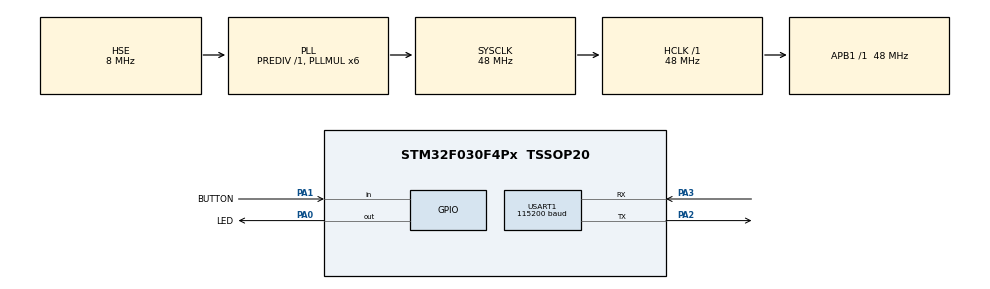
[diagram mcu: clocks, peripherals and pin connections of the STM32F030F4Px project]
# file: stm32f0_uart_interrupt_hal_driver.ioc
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Mcu.Family=STM32F0
Mcu.Name=STM32F030F4Px
Mcu.Package=TSSOP20
NVIC.USART1_IRQn=true\:0\:0\:false\:false\:true\:true\:true\:true
PA0.GPIO_Label=LED
PA0.Signal=GPIO_Output
PA1.GPIO_Label=BUTTON
PA1.GPIO_PuPd=GPIO_PULLUP
PA1.Signal=GPIO_Input
PA13.Mode=Serial_Wire
PA13.Signal=SYS_SWDIO
PA14.Mode=Serial_Wire
PA14.Signal=SYS_SWCLK
PA2.Mode=Asynchronous
PA2.Signal=USART1_TX
PA3.Mode=Asynchronous
PA3.Signal=USART1_RX
PF0-OSC_IN.Mode=HSE-External-Oscillator
PF0-OSC_IN.Signal=RCC_OSC_IN
PF1-OSC_OUT.Mode=HSE-External-Oscillator
PF1-OSC_OUT.Signal=RCC_OSC_OUT
ProjectManager.HeapSize=0x200
ProjectManager.StackSize=0x400
ProjectManager.TargetToolchain=STM32CubeIDE
RCC.AHBFreq_Value=48000000
RCC.APB1Freq_Value=48000000
RCC.APB1TimFreq_Value=48000000
RCC.EnbaleCSS=true
RCC.HCLKFreq_Value=48000000
RCC.PLLMUL=RCC_PLL_MUL6
RCC.PLLSourceVirtual=RCC_PLLSOURCE_HSE
RCC.SYSCLKFreq_VALUE=48000000
RCC.SYSCLKSource=RCC_SYSCLKSOURCE_PLLCLK
USART1.BaudRate=115200
USART1.VirtualMode-Asynchronous=VM_ASYNC
board=custom

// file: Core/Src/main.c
/* USER CODE BEGIN Header */
/**
  ******************************************************************************
  * @file           : main.c
  * @brief          : Main program body
  ******************************************************************************
  * @attention
  *
  * Copyright (c) 2025 STMicroelectronics.
  * All rights reserved.
  *
  * This software is licensed under terms that can be found in the LICENSE file
  * in the root directory of this software component.
  * If no LICENSE file comes with this software, it is provided AS-IS.
  *
  ******************************************************************************
  */
/* USER CODE END Header */
#include "main.h"

/* USER CODE BEGIN Includes */
#include "stdio.h"
/* USER CODE END Includes */

UART_HandleTypeDef huart1;

void SystemClock_Config(void);
static void MX_GPIO_Init(void);
static void MX_USART1_UART_Init(void);

/* USER CODE BEGIN 0 */

uint8_t rxData = 0;	/* receive buffer */
uint8_t txData[30] = {0};	/* transmit buffer */

uint8_t pressed_counter = 0;	/* button pressed counter */

uint8_t program_starting_flag = 0;	/* a flag for initializations */

uint8_t new_message_flag = 0;		/* rx interrupt flag */

/* USER CODE END 0 */

int main(void)
{

  /* MCU Configuration--------------------------------------------------------*/

  /* Reset of all peripherals, Initializes the Flash interface and the Systick. */
  HAL_Init();

  /* Configure the system clock */
  SystemClock_Config();

  /* Initialize all configured peripherals */
  MX_GPIO_Init();
  MX_USART1_UART_Init();
  /* USER CODE BEGIN 2 */

  /* receive 1 byte and store in rxData in interrupt method */
  HAL_UART_Receive_IT(&huart1, &rxData, 1);

  /* make txData */
  sprintf(txData, "Hello World From STM32F0!\n");

  /* transmit data with interrupt */
  HAL_UART_Transmit_IT(&huart1, txData, 26);		/* Tx routine will be called after transmit completed */

  /* USER CODE END 2 */

  /* Infinite loop */
  /* USER CODE BEGIN WHILE */
  while (1)
  {
	  if(new_message_flag)
	  {
		  if(rxData == '0')
		  {
			  /* turn off LED */
			  HAL_GPIO_WritePin(LED_GPIO_Port, LED_Pin, GPIO_PIN_RESET);

			  /* make tx buffer */
			  sprintf(txData, "LED Turned OFF.\n");

			  /* send with polling method */
			  HAL_UART_Transmit(&huart1, txData, 16, 100);
		  }
		  else if(rxData == '1')
		  {
			  /* turn on LED */
			  HAL_GPIO_WritePin(LED_GPIO_Port, LED_Pin, GPIO_PIN_SET);

			  /* make tx buffer */
			  sprintf(txData, "LED Turned ON.\n");

			  /* send with polling method */
			  HAL_UART_Transmit(&huart1, txData, 15, 100);
		  }

		  /* reset the flag */
		  new_message_flag = 0;
	  }

	  /* check button pressed */
	  if(HAL_GPIO_ReadPin(BUTTON_GPIO_Port, BUTTON_Pin) == GPIO_PIN_RESET)
	  {
		  /* button pressed */
		  pressed_counter++;

		  /* make tx buffer */
		  sprintf(txData, "pressed : %3d\n", pressed_counter);

		  /* send with polling method */
		  HAL_UART_Transmit(&huart1, txData, 14, 100);

		  /* button bounce */
		  HAL_Delay(200);
	  }

    /* USER CODE END WHILE */

  }
}

void SystemClock_Config(void)
{
  RCC_OscInitTypeDef RCC_OscInitStruct = {0};
  RCC_ClkInitTypeDef RCC_ClkInitStruct = {0};
  RCC_PeriphCLKInitTypeDef PeriphClkInit = {0};

  /** Initializes the RCC Oscillators according to the specified parameters
  * in the RCC_OscInitTypeDef structure.
  */
  RCC_OscInitStruct.OscillatorType = RCC_OSCILLATORTYPE_HSE;
  RCC_OscInitStruct.HSEState = RCC_HSE_ON;
  RCC_OscInitStruct.PLL.PLLState = RCC_PLL_ON;
  RCC_OscInitStruct.PLL.PLLSource = RCC_PLLSOURCE_HSE;
  RCC_OscInitStruct.PLL.PLLMUL = RCC_PLL_MUL6;
  RCC_OscInitStruct.PLL.PREDIV = RCC_PREDIV_DIV1;
  if (HAL_RCC_OscConfig(&RCC_OscInitStruct) != HAL_OK)
  {
    Error_Handler();
  }

  /** Initializes the CPU, AHB and APB buses clocks
  */
  RCC_ClkInitStruct.ClockType = RCC_CLOCKTYPE_HCLK|RCC_CLOCKTYPE_SYSCLK
                              |RCC_CLOCKTYPE_PCLK1;
  RCC_ClkInitStruct.SYSCLKSource = RCC_SYSCLKSOURCE_PLLCLK;
  RCC_ClkInitStruct.AHBCLKDivider = RCC_SYSCLK_DIV1;
  RCC_ClkInitStruct.APB1CLKDivider = RCC_HCLK_DIV1;

  if (HAL_RCC_ClockConfig(&RCC_ClkInitStruct, FLASH_LATENCY_1) != HAL_OK)
  {
    Error_Handler();
  }
  PeriphClkInit.PeriphClockSelection = RCC_PERIPHCLK_USART1;
  PeriphClkInit.Usart1ClockSelection = RCC_USART1CLKSOURCE_PCLK1;
  if (HAL_RCCEx_PeriphCLKConfig(&PeriphClkInit) != HAL_OK)
  {
    Error_Handler();
  }

  /** Enables the Clock Security System
  */
  HAL_RCC_EnableCSS();
}

static void MX_USART1_UART_Init(void)
{

  huart1.Instance = USART1;
  huart1.Init.BaudRate = 115200;
  huart1.Init.WordLength = UART_WORDLENGTH_8B;
  huart1.Init.StopBits = UART_STOPBITS_1;
  huart1.Init.Parity = UART_PARITY_NONE;
  huart1.Init.Mode = UART_MODE_TX_RX;
  huart1.Init.HwFlowCtl = UART_HWCONTROL_NONE;
  huart1.Init.OverSampling = UART_OVERSAMPLING_16;
  huart1.Init.OneBitSampling = UART_ONE_BIT_SAMPLE_DISABLE;
  huart1.AdvancedInit.AdvFeatureInit = UART_ADVFEATURE_NO_INIT;
  if (HAL_UART_Init(&huart1) != HAL_OK)
  {
    Error_Handler();
  }

}

static void MX_GPIO_Init(void)
{
  GPIO_InitTypeDef GPIO_InitStruct = {0};

  /* GPIO Ports Clock Enable */
  __HAL_RCC_GPIOF_CLK_ENABLE();
  __HAL_RCC_GPIOA_CLK_ENABLE();

  /*Configure GPIO pin Output Level */
  HAL_GPIO_WritePin(LED_GPIO_Port, LED_Pin, GPIO_PIN_RESET);

  /*Configure GPIO pin : LED_Pin */
  GPIO_InitStruct.Pin = LED_Pin;
  GPIO_InitStruct.Mode = GPIO_MODE_OUTPUT_PP;
  GPIO_InitStruct.Pull = GPIO_NOPULL;
  GPIO_InitStruct.Speed = GPIO_SPEED_FREQ_LOW;
  HAL_GPIO_Init(LED_GPIO_Port, &GPIO_InitStruct);

  /*Configure GPIO pin : BUTTON_Pin */
  GPIO_InitStruct.Pin = BUTTON_Pin;
  GPIO_InitStruct.Mode = GPIO_MODE_INPUT;
  GPIO_InitStruct.Pull = GPIO_PULLUP;
  HAL_GPIO_Init(BUTTON_GPIO_Port, &GPIO_InitStruct);

}

void Error_Handler(void)
{
  __disable_irq();
  while (1)
  {
  }
}
